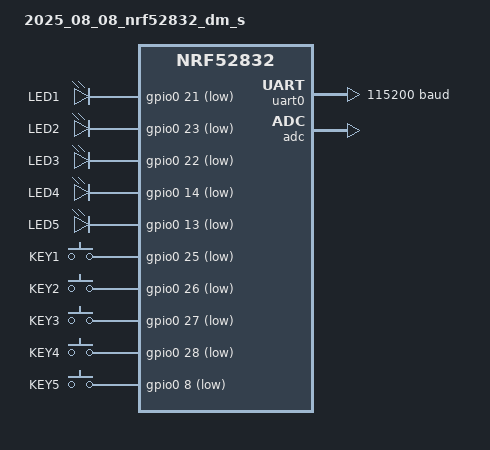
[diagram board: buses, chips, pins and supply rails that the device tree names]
/dts-v1/;
#include <nordic/nrf52832_qfaa.dtsi>
#include "nrf52832_dm_s-pinctrl.dtsi"

 / {
	model = "2025_08_08_nrf52832_dm_s";
	compatible = "DM-Tech,nrf52832-dm-s";

	chosen {
		zephyr,sram = &sram0;
		zephyr,flash = &flash0;
		zephyr,code-partition = &slot0_partition;
		zephyr,console = &uart0;
		zephyr,shell-uart = &uart0;
	};

	aliases {
		led0 = &led1;
		led1 = &led2;
		led2 = &led3;
		led3 = &led4;
		led4 = &led5;

		sw0 = &button1;
		sw1 = &button2;
		sw2 = &button3;
		sw3 = &button4;
		sw4 = &button5;
	};

	leds {
		compatible = "gpio-leds";
		led1: led_1 {
			gpios = <&gpio0 21 GPIO_ACTIVE_LOW>;
			label = "LED1";
		};
		led2: led_2 {
			gpios = <&gpio0 23 GPIO_ACTIVE_LOW>;
			label = "LED2";
		};
		led3: led_3 {
			gpios = <&gpio0 22 GPIO_ACTIVE_LOW>;
			label = "LED3";
		};
		led4: led_4 {
			gpios = <&gpio0 14 GPIO_ACTIVE_LOW>;
			label = "LED4";
		};
		led5: led_5 {
			gpios = <&gpio0 13 GPIO_ACTIVE_LOW>;
			label = "LED5";
		};
	};

	buttons {
		compatible = "gpio-keys";

		button1: button_1 {
			gpios = <&gpio0 25 GPIO_ACTIVE_LOW>;
			label = "KEY1";
		};

		button2: button_2 {
			gpios = <&gpio0 26 GPIO_ACTIVE_LOW>;
			label = "KEY2";
		};

		button3: button_3 {
			gpios = <&gpio0 27 GPIO_ACTIVE_LOW>;
			label = "KEY3";
		};

		button4: button_4 {
			gpios = <&gpio0 28 GPIO_ACTIVE_LOW>;
			label = "KEY4";
		};

		button5: button_5 {
			gpios = <&gpio0 8 GPIO_ACTIVE_LOW>;
			label = "KEY5";
		};
	};
};

&gpio0 {
	status = "okay";
};

&uart0 {
    status = "okay";
    current-speed = <115200>;

    pinctrl-0 = <&uart0_default>;
    pinctrl-names = "default";
};

&adc {
	status = "okay";
};

&gpiote {
	status = "okay";
};

&flash0 {
	partitions {
		compatible = "fixed-partitions";
		#address-cells = <1>;
		#size-cells = <1>;

		boot_partition: partition@0 {
			label = "mcuboot";
			reg = <0x00000000 DT_SIZE_K(48)>;
		};

		slot0_partition: partition@c000 {
			label = "image-0";
			reg = <0x0000c000 DT_SIZE_K(220)>;
		};

		slot1_partition: partition@43000 {
			label = "image-1";
			reg = <0x00043000 DT_SIZE_K(220)>;
		};

		storage_partition: partition@7a000 {
			label = "storage";
			reg = <0x0007a000 DT_SIZE_K(24)>;
		};
	};
};
